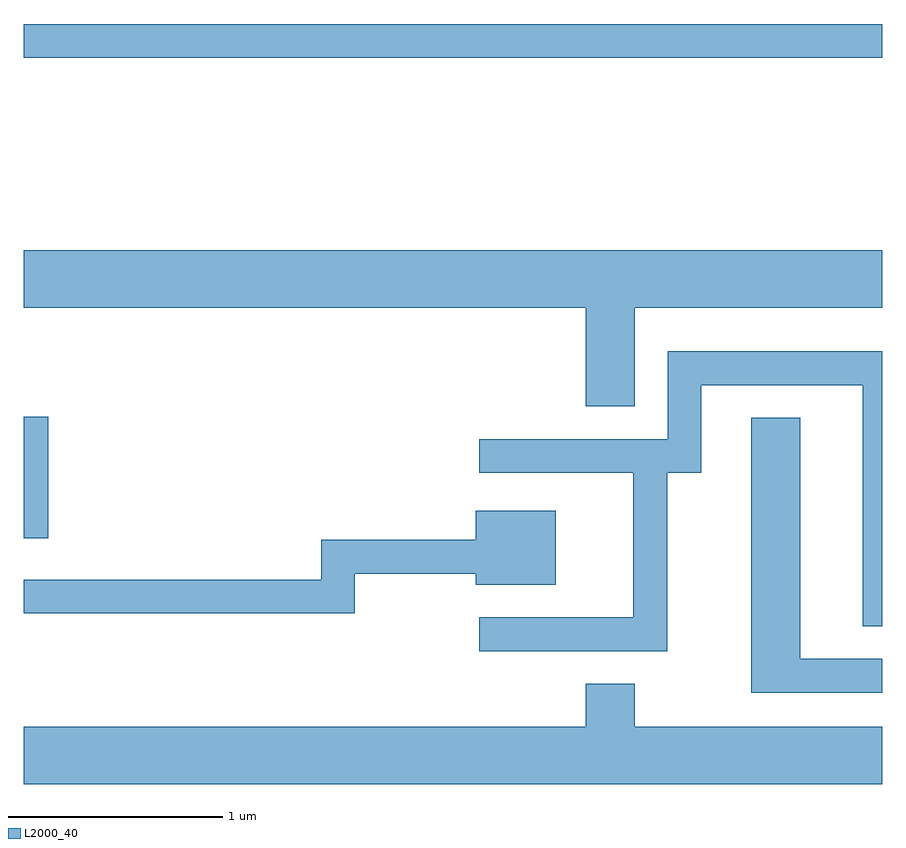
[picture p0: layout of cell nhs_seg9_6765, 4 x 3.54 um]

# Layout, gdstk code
import gdstk
lib = gdstk.Library(unit=1e-6, precision=1e-09)
def R(c, l, rs):  # rectangles x0, y0, x1, y1
    for r in rs: c.add(gdstk.rectangle(r[:2], r[2:], *l))
def P(c, l, *ps):  # polygons
    for p in ps: c.add(gdstk.Polygon(p, *l))
L2000_40 = (2000, 40)

nhs_seg9_6765 = lib.new_cell('nhs_seg9_6765')
R(nhs_seg9_6765, L2000_40, [(385.611,1961.881,385.724,1962.449), (385.611,1964.121,389.611,1964.279)])
P(nhs_seg9_6765, L2000_40, [(388.459,1962.956),(389.611,1962.956),(389.611,1963.224),(385.611,1963.224),(385.611,1962.956),(388.231,1962.956),(388.231,1962.496),(388.459,1962.496)],
  [(388.609,1962.186),(388.769,1962.186),(388.769,1962.596),(389.521,1962.596),(389.521,1961.471),(389.611,1961.471),(389.611,1962.754),(388.611,1962.754),(388.611,1962.344),(387.733,1962.344),(387.733,1962.186),(388.451,1962.186),(388.451,1961.514),(387.733,1961.514),(387.733,1961.356),(388.609,1961.356)],
  [(389.611,1961.319),(389.229,1961.319),(389.229,1962.444),(389.001,1962.444),(389.001,1961.161),(389.611,1961.161)],
  [(387.154,1961.716),(387.716,1961.716),(387.716,1961.666),(388.089,1961.666),(388.089,1962.009),(387.716,1962.009),(387.716,1961.874),(386.996,1961.874),(386.996,1961.689),(385.611,1961.689),(385.611,1961.531),(387.154,1961.531)],
  [(389.611,1961.004),(388.459,1961.004),(388.459,1961.204),(388.231,1961.204),(388.231,1961.004),(385.611,1961.004),(385.611,1960.736),(389.611,1960.736)])

lib.write_gds('nhs_seg9_6765.gds')
